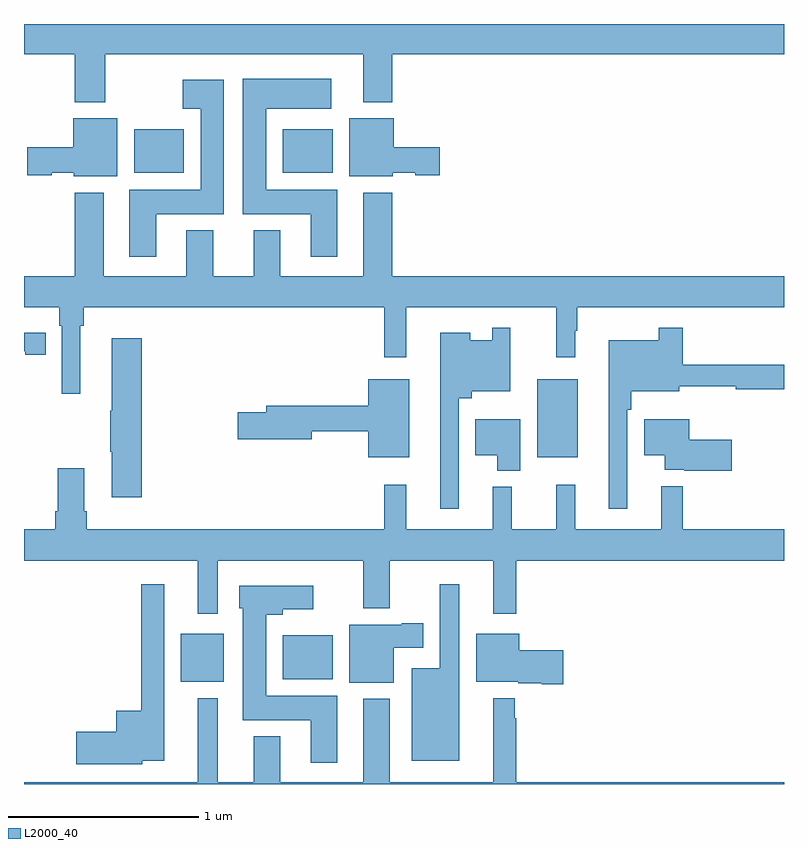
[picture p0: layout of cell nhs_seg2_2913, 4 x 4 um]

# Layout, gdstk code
import gdstk
lib = gdstk.Library(unit=1e-6, precision=1e-09)
def R(c, l, rs):  # rectangles x0, y0, x1, y1
    for r in rs: c.add(gdstk.rectangle(r[:2], r[2:], *l))
def P(c, l, *ps):  # polygons
    for p in ps: c.add(gdstk.Polygon(p, *l))
L2000_40 = (2000, 40)

nhs_seg2_2913 = lib.new_cell('nhs_seg2_2913')
R(nhs_seg2_2913, L2000_40, [(263.825,640.337,264.052,640.591), (264.362,640.352,264.625,640.582), (265.7,641.519,265.915,641.929), (263.579,643.016,263.842,643.246), (264.362,643.016,264.625,643.246)])
P(nhs_seg2_2913, L2000_40, [(263.427,643.64),(264.785,643.64),(264.785,643.388),(264.938,643.388),(264.938,643.64),(267,643.64),(267,643.8),(263,643.8),(263,643.64),(263.267,643.64),(263.267,643.388),(263.427,643.388)],
  [(264.649,642.928),(264.274,642.928),(264.274,643.355),(264.616,643.355),(264.616,643.513),(264.152,643.513),(264.152,642.8),(264.509,642.8),(264.509,642.576),(264.649,642.576)],
  [(263.695,642.8),(264.052,642.8),(264.052,643.507),(263.835,643.507),(263.835,643.355),(263.93,643.355),(263.93,642.928),(263.555,642.928),(263.555,642.576),(263.695,642.576)],
  [(264.942,643.016),(265.059,643.016),(265.059,643.004),(265.189,643.004),(265.189,643.151),(264.946,643.151),(264.946,643.303),(264.713,643.303),(264.713,642.998),(264.942,642.998)],
  [(263.491,643.303),(263.258,643.303),(263.258,643.151),(263.016,643.151),(263.016,643.004),(263.145,643.004),(263.145,643.016),(263.262,643.016),(263.262,642.998),(263.491,642.998)],
  [(263.296,642.212),(263.315,642.212),(263.315,642.308),(264.895,642.308),(264.895,642.045),(265.012,642.045),(265.012,642.308),(265.801,642.308),(265.801,642.045),(265.9,642.045),(265.9,642.185),(265.912,642.185),(265.912,642.308),(267,642.308),(267,642.472),(264.938,642.472),(264.938,642.913),(264.785,642.913),(264.785,642.472),(264.349,642.472),(264.349,642.715),(264.209,642.715),(264.209,642.472),(263.995,642.472),(263.995,642.715),(263.855,642.715),(263.855,642.472),(263.419,642.472),(263.419,642.913),(263.267,642.913),(263.267,642.472),(263,642.472),(263,642.308),(263.186,642.308),(263.186,642.212),(263.199,642.212),(263.199,641.853),(263.296,641.853)],
  [(266.175,641.771),(266.195,641.771),(266.195,641.867),(266.449,641.867),(266.449,641.893),(266.745,641.893),(266.745,641.878),(267,641.878),(267,642.007),(266.468,642.007),(266.468,642.202),(266.34,642.202),(266.34,642.136),(266.078,642.136),(266.078,641.25),(266.175,641.25)],
  [(265.287,641.831),(265.356,641.831),(265.356,641.867),(265.56,641.867),(265.56,642.202),(265.464,642.202),(265.464,642.136),(265.348,642.136),(265.348,642.175),(265.19,642.175),(265.19,641.25),(265.287,641.25)],
  [(263.114,642.174),(263.006,642.174),(263.006,642.175),(263,642.175),(263,642.078),(263.006,642.078),(263.006,642.058),(263.114,642.058)],
  [(263.621,642.145),(263.462,642.145),(263.462,641.765),(263.455,641.765),(263.455,641.548),(263.462,641.548),(263.462,641.31),(263.621,641.31)],
  [(265.027,641.929),(264.812,641.929),(264.812,641.792),(264.275,641.792),(264.275,641.756),(264.126,641.756),(264.126,641.614),(264.514,641.614),(264.514,641.656),(264.812,641.656),(264.812,641.519),(265.027,641.519)],
  [(266.725,641.611),(266.5,641.611),(266.5,641.719),(266.264,641.719),(266.264,641.531),(266.372,641.531),(266.372,641.453),(266.476,641.453),(266.476,641.448),(266.725,641.448)],
  [(265.612,641.719),(265.376,641.719),(265.376,641.531),(265.49,641.531),(265.49,641.45),(265.612,641.45)],
  [(264.019,640.976),(264.785,640.976),(264.785,640.724),(264.925,640.724),(264.925,640.976),(265.469,640.976),(265.469,640.695),(265.591,640.695),(265.591,640.976),(267,640.976),(267,641.14),(266.466,641.14),(266.466,641.368),(266.354,641.368),(266.354,641.14),(265.901,641.14),(265.901,641.374),(265.801,641.374),(265.801,641.14),(265.566,641.14),(265.566,641.365),(265.466,641.365),(265.466,641.14),(265.013,641.14),(265.013,641.374),(264.895,641.374),(264.895,641.14),(263.33,641.14),(263.33,641.236),(263.317,641.236),(263.317,641.461),(263.177,641.461),(263.177,641.236),(263.165,641.236),(263.165,641.14),(263,641.14),(263,640.976),(263.915,640.976),(263.915,640.695),(264.019,640.695)],
  [(263.622,639.923),(263.737,639.923),(263.737,640.852),(263.616,640.852),(263.616,640.186),(263.486,640.186),(263.486,640.076),(263.274,640.076),(263.274,639.905),(263.622,639.905)],
  [(265.291,640.852),(265.187,640.852),(265.187,640.408),(265.04,640.408),(265.04,639.923),(265.291,639.923)],
  [(264.649,640.264),(264.274,640.264),(264.274,640.691),(264.361,640.691),(264.361,640.721),(264.523,640.721),(264.523,640.843),(264.134,640.843),(264.134,640.725),(264.152,640.725),(264.152,640.136),(264.509,640.136),(264.509,639.912),(264.649,639.912)],
  [(264.946,640.517),(265.102,640.517),(265.102,640.647),(264.989,640.647),(264.989,640.639),(264.713,640.639),(264.713,640.334),(264.946,640.334)],
  [(265.837,640.503),(265.606,640.503),(265.606,640.591),(265.379,640.591),(265.379,640.337),(265.602,640.337),(265.602,640.331),(265.724,640.331),(265.724,640.325),(265.837,640.325)],
  [(263.915,639.808),(263,639.808),(263,639.8),(267,639.8),(267,639.808),(265.591,639.808),(265.591,640.145),(265.583,640.145),(265.583,640.252),(265.469,640.252),(265.469,639.808),(264.925,639.808),(264.925,640.249),(264.785,640.249),(264.785,639.808),(264.349,639.808),(264.349,640.051),(264.209,640.051),(264.209,639.808),(264.019,639.808),(264.019,640.252),(263.915,640.252)])

lib.write_gds('nhs_seg2_2913.gds')
